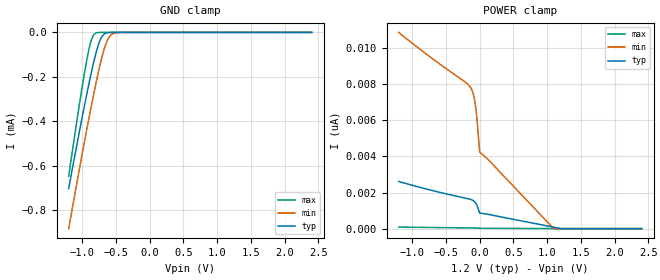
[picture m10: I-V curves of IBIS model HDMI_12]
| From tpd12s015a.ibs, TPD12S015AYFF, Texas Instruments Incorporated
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[Model]   HDMI_12
Model_type   Input
Vinl = 0.4V
Vinh = 1.0V
|   typ   min   max
C_comp   0.2533pF   0.2533pF   0.2533pF
[Voltage Range]   1.200V   1.100V   1.300V
|Junction temperature
[Temperature Range]   40.0   100.0   -40.0
|ambient temperature   25   85   -40|
[GND Clamp]
|   Voltage   I(typ)   I(min)   I(max)
-1.2V     -703.7uA   -883.9uA   -648.4uA
-1.073V   -498.2uA   -669.7uA   -388.5uA
-982.9mV  -355.9uA   -520.1uA   -213.8uA
-928.6mV  -273.6uA   -432.4uA   -119.7uA
-874.4mV  -195.1uA   -346.9uA   -44.89uA
-820.1mV  -122.9uA   -264.5uA   -7.836uA
-729.6mV  -31.91uA   -139.2uA   -163nA
-693.5mV  -13.23uA   -96.18uA   -29nA
-639.2mV  -2.609uA   -44.82uA   -2.053nA
-566.8mV  -254.3nA   -9.698uA   -66.61pA
-404mV    -741.1pA   -119.4nA   -3.095pA
2.4V      0A         0A         0A
[POWER Clamp]
|   Voltage   I(typ)   I(min)   I(max)
-1.2V     2.611nA    10.86nA    86.26pA
-150.8mV  1.634nA    7.89nA     41.83pA
-114.6mV  1.59nA     7.665nA    40.4pA
-96.48mV  1.557nA    7.477nA    39.58pA
-78.39mV  1.507nA    7.196nA    38.54pA
-60.3mV   1.428nA    6.775nA    37.01pA
-42.21mV  1.305nA    6.166nA    34.43pA
0V        863.1pA    4.232nA    22.72pA
102.5mV   807.7pA    3.911nA    21.45pA
1.097V    79.45pA    0A         3.574pA
1.206V    0A         0A         1.625pA
2.4V      0A         0A         0A
